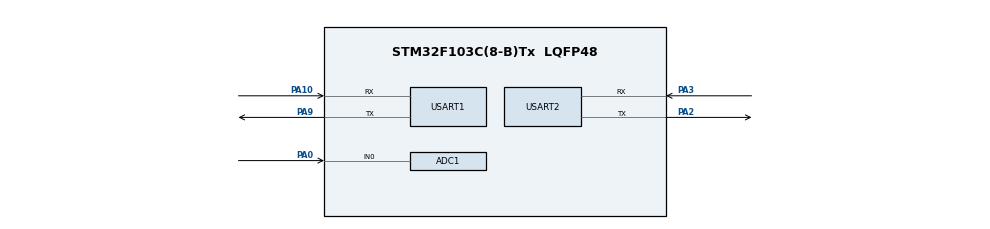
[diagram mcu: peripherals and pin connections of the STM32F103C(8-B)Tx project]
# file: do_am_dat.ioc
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ADC1.Channel-0\#ChannelRegularConversion=ADC_CHANNEL_0
ADC1.NbrOfConversionFlag=1
ADC1.Rank-0\#ChannelRegularConversion=1
ADC1.SamplingTime-0\#ChannelRegularConversion=ADC_SAMPLETIME_1CYCLE_5
ADC1.master=1
Mcu.Family=STM32F1
Mcu.Name=STM32F103C(8-B)Tx
Mcu.Package=LQFP48
NVIC.PriorityGroup=NVIC_PRIORITYGROUP_4
NVIC.USART2_IRQn=true\:0\:0\:false\:false\:true\:true\:true\:true
PA0-WKUP.Signal=ADCx_IN0
PA10.Mode=Asynchronous
PA10.Signal=USART1_RX
PA13.Mode=Serial_Wire
PA13.Signal=SYS_JTMS-SWDIO
PA14.Mode=Serial_Wire
PA14.Signal=SYS_JTCK-SWCLK
PA2.Mode=Asynchronous
PA2.Signal=USART2_TX
PA3.Mode=Asynchronous
PA3.Signal=USART2_RX
PA9.Mode=Asynchronous
PA9.Signal=USART1_TX
PD0-OSC_IN.Mode=HSE-External-Oscillator
PD0-OSC_IN.Signal=RCC_OSC_IN
PD1-OSC_OUT.Mode=HSE-External-Oscillator
PD1-OSC_OUT.Signal=RCC_OSC_OUT
ProjectManager.HeapSize=0x200
ProjectManager.StackSize=0x400
ProjectManager.TargetToolchain=MDK-ARM V5.32
RCC.APB1Freq_Value=8000000
RCC.APB2Freq_Value=8000000
SH.ADCx_IN0.0=ADC1_IN0,IN0
USART1.VirtualMode=VM_ASYNC
USART2.VirtualMode=VM_ASYNC
board=custom

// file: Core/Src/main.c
/* USER CODE BEGIN Header */
/**
  ******************************************************************************
  * @file           : main.c
  * @brief          : Node 4 - Soil Moisture Sensor - LoRa Gateway Protocol
  ******************************************************************************
  */
/* USER CODE END Header */
#include "main.h"

/* USER CODE BEGIN Includes */
#include "stdarg.h"
#include "string.h"
#include "stdio.h"
/* USER CODE END Includes */

/* USER CODE BEGIN PD */
#define NODE_ID  4   // <-- Node 4 (Do am dat)
/* USER CODE END PD */

ADC_HandleTypeDef hadc1;

UART_HandleTypeDef huart1;
UART_HandleTypeDef huart2;

/* USER CODE BEGIN PV */
extern ADC_HandleTypeDef hadc1; // Khai bao bo ADC1
/* USER CODE END PV */

void SystemClock_Config(void);
static void MX_GPIO_Init(void);
static void MX_ADC1_Init(void);
static void MX_USART1_UART_Init(void);
static void MX_USART2_UART_Init(void);
/* USER CODE BEGIN PFP */
char buff[60];
void mPrint(const char* format, ...){
    va_list args;
    va_start(args, format);
    vsnprintf(buff, sizeof(buff), format, args);
    va_end(args);
    HAL_UART_Transmit(&huart1, (uint8_t*)buff, strlen(buff), 1000);
}

uint16_t Read_Soil_Moisture_ADC(void);
uint8_t Convert_To_Percentage(uint16_t adc_val);
/* USER CODE END PFP */

/* USER CODE BEGIN 0 */
// Ham doc gia tri ADC thu tu cam bien
uint16_t Read_Soil_Moisture_ADC(void) {
    uint16_t adc_value = 0;

    // Khoi dong bo ADC
    HAL_ADC_Start(&hadc1);

    // Cho qua trinh chuyen doi hoan tat (Timeout 100ms)
    if (HAL_ADC_PollForConversion(&hadc1, 100) == HAL_OK) {
        adc_value = HAL_ADC_GetValue(&hadc1);
    }

    HAL_ADC_Stop(&hadc1);

    return adc_value;
}

// Ham chuyen doi gia tri ADC sang phan tram (%)
uint8_t Convert_To_Percentage(uint16_t adc_val) {
    uint16_t adc_dry = 4050; // Khi de ngoai khong khi (Kho)
    uint16_t adc_wet = 1500; // Khi ngam vao nuoc (Uot)

    int percent = 0;

    if (adc_val > adc_dry) adc_val = adc_dry;
    if (adc_val < adc_wet) adc_val = adc_wet;

    percent = 100 - ((adc_val - adc_wet) * 100) / (adc_dry - adc_wet);

    return (uint8_t)percent;
}

/* ---------- Bien phuc vu nhan lenh tu Gateway qua UART2 (LoRa) ---------- */
uint8_t rx_byte;          // Nhan tung byte mot qua ngat
char    rx_buffer[20];    // Buffer rap chuoi lenh (VD: "GET_N4")
uint8_t rx_index  = 0;
uint8_t cmd_ready = 0;    // Co bao hieu da nhan xong mot lenh

char    lora_tx_buffer[30]; // Buffer gui phan hoi
/* USER CODE END 0 */

int main(void)
{

  HAL_Init();

  SystemClock_Config();

  MX_GPIO_Init();
  MX_ADC1_Init();
  MX_USART1_UART_Init();
  MX_USART2_UART_Init();
  /* USER CODE BEGIN 2 */
  // Bat ngat UART2 de lang nghe lenh tu Gateway
  HAL_UART_Receive_IT(&huart2, &rx_byte, 1);
  mPrint("Node %d (Soil Moisture) Ready. Listening for Gateway...\r\n", NODE_ID);
  /* USER CODE END 2 */

  /* Infinite loop */
  /* USER CODE BEGIN WHILE */
  while (1)
  {
      // Neu co lenh gui den tu Gateway
      if (cmd_ready == 1)
      {
          cmd_ready = 0; // Tat co de tranh xu ly lap lai

          // Tao chuoi lenh mong doi (Node 4 mong nhan "GET_N4")
          char expected_cmd[12];
          sprintf(expected_cmd, "GET_N%d", NODE_ID);

          // Kiem tra lenh co dung ten minh khong (dung strstr de an toan)
          if (strstr(rx_buffer, expected_cmd) != NULL)
          {
              mPrint("Gateway goi: %s. Dang doc cam bien...\r\n", rx_buffer);

              // Doc cam bien ADC
              uint16_t adcValue = Read_Soil_Moisture_ADC();
              uint8_t moisture_percent = Convert_To_Percentage(adcValue);

              // Dong goi du lieu va gui tra qua UART2 (LoRa)
              // Dinh dang: N4,<moisture_percent>\n
              sprintf(lora_tx_buffer, "N%d,%d\n", NODE_ID, moisture_percent);
              HAL_StatusTypeDef tx_status = HAL_UART_Transmit(&huart2, (uint8_t*)lora_tx_buffer, strlen(lora_tx_buffer), 1000);
if (tx_status != HAL_OK) {
    mPrint("Loi truyen UART2: %d\r\n", tx_status);
}

              mPrint("ADC: %d -> Do am dat: %d%%\r\n", adcValue, moisture_percent);
              mPrint("Da gui: %s\r\n", lora_tx_buffer);
          }
          else
          {
              mPrint("Bo qua lenh: %s (Khong phai toi)\r\n", rx_buffer);
          }

          // Reset buffer chuan bi don lenh tiep theo
          rx_index = 0;
          memset(rx_buffer, 0, sizeof(rx_buffer));
      }

      // STM32 co the lam viec khac o day
    /* USER CODE END WHILE */

  }
}

void SystemClock_Config(void)
{
  RCC_OscInitTypeDef RCC_OscInitStruct = {0};
  RCC_ClkInitTypeDef RCC_ClkInitStruct = {0};

  /** Initializes the RCC Oscillators according to the specified parameters
  * in the RCC_OscInitTypeDef structure.
  */
  RCC_OscInitStruct.OscillatorType = RCC_OSCILLATORTYPE_HSI;
  RCC_OscInitStruct.HSIState = RCC_HSI_ON;
  RCC_OscInitStruct.HSICalibrationValue = RCC_HSICALIBRATION_DEFAULT;
  RCC_OscInitStruct.PLL.PLLState = RCC_PLL_NONE;
  if (HAL_RCC_OscConfig(&RCC_OscInitStruct) != HAL_OK)
  {
    Error_Handler();
  }

  /** Initializes the CPU, AHB and APB buses clocks
  */
  RCC_ClkInitStruct.ClockType = RCC_CLOCKTYPE_HCLK|RCC_CLOCKTYPE_SYSCLK
                              |RCC_CLOCKTYPE_PCLK1|RCC_CLOCKTYPE_PCLK2;
  RCC_ClkInitStruct.SYSCLKSource = RCC_SYSCLKSOURCE_HSI;
  RCC_ClkInitStruct.AHBCLKDivider = RCC_SYSCLK_DIV1;
  RCC_ClkInitStruct.APB1CLKDivider = RCC_HCLK_DIV1;
  RCC_ClkInitStruct.APB2CLKDivider = RCC_HCLK_DIV1;

  if (HAL_RCC_ClockConfig(&RCC_ClkInitStruct, FLASH_LATENCY_0) != HAL_OK)
  {
    Error_Handler();
  }
}

static void MX_ADC1_Init(void)
{
  ADC_ChannelConfTypeDef sConfig = {0};

  hadc1.Instance = ADC1;
  hadc1.Init.ScanConvMode = ADC_SCAN_DISABLE;
  hadc1.Init.ContinuousConvMode = DISABLE;
  hadc1.Init.DiscontinuousConvMode = DISABLE;
  hadc1.Init.ExternalTrigConv = ADC_SOFTWARE_START;
  hadc1.Init.DataAlign = ADC_DATAALIGN_RIGHT;
  hadc1.Init.NbrOfConversion = 1;
  if (HAL_ADC_Init(&hadc1) != HAL_OK)
  {
    Error_Handler();
  }

  /** Configure Regular Channel
  */
  sConfig.Channel = ADC_CHANNEL_0;
  sConfig.Rank = ADC_REGULAR_RANK_1;
  sConfig.SamplingTime = ADC_SAMPLETIME_1CYCLE_5;
  if (HAL_ADC_ConfigChannel(&hadc1, &sConfig) != HAL_OK)
  {
    Error_Handler();
  }
}

static void MX_USART1_UART_Init(void)
{
  huart1.Instance = USART1;
  huart1.Init.BaudRate = 115200;
  huart1.Init.WordLength = UART_WORDLENGTH_8B;
  huart1.Init.StopBits = UART_STOPBITS_1;
  huart1.Init.Parity = UART_PARITY_NONE;
  huart1.Init.Mode = UART_MODE_TX_RX;
  huart1.Init.HwFlowCtl = UART_HWCONTROL_NONE;
  huart1.Init.OverSampling = UART_OVERSAMPLING_16;
  if (HAL_UART_Init(&huart1) != HAL_OK)
  {
    Error_Handler();
  }
}

static void MX_USART2_UART_Init(void)
{
  huart2.Instance = USART2;
  huart2.Init.BaudRate = 9600;
  huart2.Init.WordLength = UART_WORDLENGTH_8B;
  huart2.Init.StopBits = UART_STOPBITS_1;
  huart2.Init.Parity = UART_PARITY_NONE;
  huart2.Init.Mode = UART_MODE_TX_RX;
  huart2.Init.HwFlowCtl = UART_HWCONTROL_NONE;
  huart2.Init.OverSampling = UART_OVERSAMPLING_16;
  if (HAL_UART_Init(&huart2) != HAL_OK)
  {
    Error_Handler();
  }
}

static void MX_GPIO_Init(void)
{
  /* GPIO Ports Clock Enable */
  __HAL_RCC_GPIOD_CLK_ENABLE();
  __HAL_RCC_GPIOA_CLK_ENABLE();
}

/* USER CODE BEGIN 4 */
/**
  * @brief  Ham ngat UART - Nhan tung byte tu Gateway qua UART2 (LoRa)
  */
void HAL_UART_RxCpltCallback(UART_HandleTypeDef *huart)
{
    if (huart->Instance == USART2)
    {
        if (rx_byte != '\n' && rx_byte != '\r')
        {
            rx_buffer[rx_index++] = rx_byte;
            if (rx_index >= 20) rx_index = 0; // Chong tran bo nho
        }
        else if (rx_index > 0)
        {
            rx_buffer[rx_index] = '\0';  // Null-terminate
            cmd_ready = 1;               // Bao cho main biet
        }

        // Kich hoat lai ngat de lang nghe byte tiep theo
        HAL_UART_Receive_IT(&huart2, &rx_byte, 1);
    }
}
/* USER CODE END 4 */

void Error_Handler(void)
{
  __disable_irq();
  while (1)
  {
  }
}
